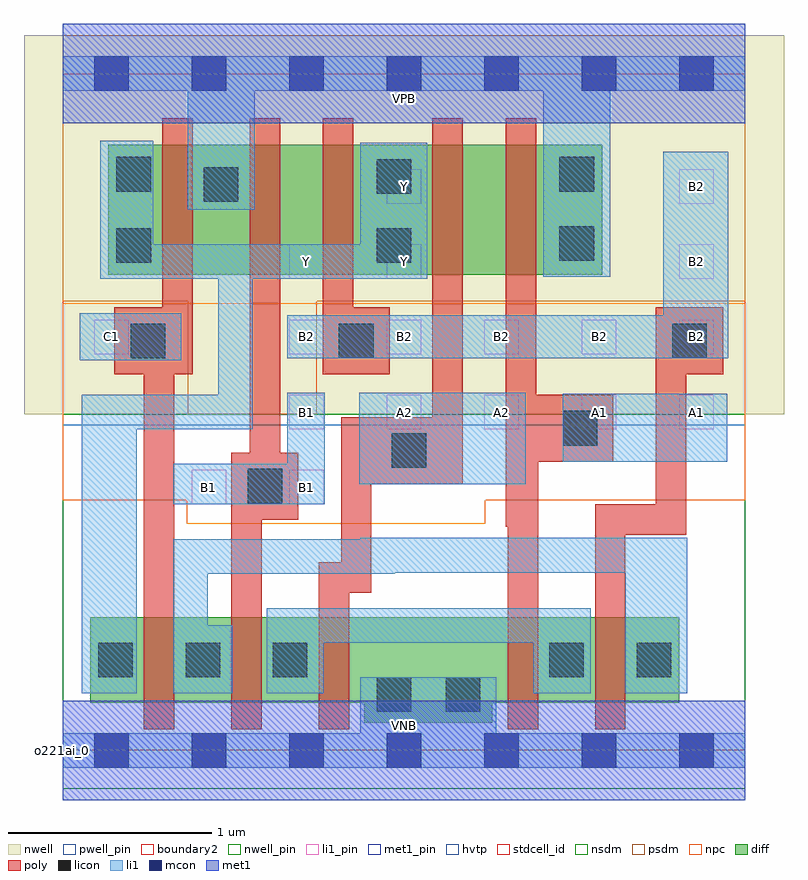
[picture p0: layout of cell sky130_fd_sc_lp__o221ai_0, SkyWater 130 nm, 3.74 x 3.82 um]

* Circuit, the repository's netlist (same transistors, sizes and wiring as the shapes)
* Copyright 2020 The SkyWater PDK Authors
*
* Licensed under the Apache License, Version 2.0 (the "License");
* you may not use this file except in compliance with the License.
* You may obtain a copy of the License at
*
*     https://www.apache.org/licenses/LICENSE-2.0
*
* Unless required by applicable law or agreed to in writing, software
* distributed under the License is distributed on an "AS IS" BASIS,
* WITHOUT WARRANTIES OR CONDITIONS OF ANY KIND, either express or implied.
* See the License for the specific language governing permissions and
* limitations under the License.
*
* SPDX-License-Identifier: Apache-2.0

.SUBCKT sky130_fd_sc_lp__o221ai_0 A1 A2 B1 B2 C1 VGND VNB VPB VPWR Y
*.PININFO A1:I A2:I B1:I B2:I C1:I VGND:I VNB:I VPB:I VPWR:I Y:O
MMPA0 VPWR A1 sndA1 VPB sky130_fd_pr__pfet_01v8_hvt m=1 w=0.64U l=0.15U mult=1
+ sa=0.265 sb=0.265 sd=0.28 area=0.063 perim=1.14
MMPA1 sndA1 A2 Y VPB sky130_fd_pr__pfet_01v8_hvt m=1 w=0.64U l=0.15U mult=1 sa=0.265
+ sb=0.265 sd=0.28 area=0.063 perim=1.14
MMPB0 VPWR B1 sndB1 VPB sky130_fd_pr__pfet_01v8_hvt m=1 w=0.64U l=0.15U mult=1
+ sa=0.265 sb=0.265 sd=0.28 area=0.063 perim=1.14
MMPB1 sndB1 B2 Y VPB sky130_fd_pr__pfet_01v8_hvt m=1 w=0.64U l=0.15U mult=1 sa=0.265
+ sb=0.265 sd=0.28 area=0.063 perim=1.14
MMPC0 VPWR C1 Y VPB sky130_fd_pr__pfet_01v8_hvt m=1 w=0.64U l=0.15U mult=1 sa=0.265
+ sb=0.265 sd=0.28 area=0.063 perim=1.14
MMNA0 pndA A1 VGND VNB sky130_fd_pr__nfet_01v8 m=1 w=0.42U l=0.15U mult=1 sa=0.265
+ sb=0.265 sd=0.28 area=0.063 perim=1.14
MMNA1 pndA A2 VGND VNB sky130_fd_pr__nfet_01v8 m=1 w=0.42U l=0.15U mult=1 sa=0.265
+ sb=0.265 sd=0.28 area=0.063 perim=1.14
MMNB0 pndB B1 pndA VNB sky130_fd_pr__nfet_01v8 m=1 w=0.42U l=0.15U mult=1 sa=0.265
+ sb=0.265 sd=0.28 area=0.063 perim=1.14
MMNB1 pndB B2 pndA VNB sky130_fd_pr__nfet_01v8 m=1 w=0.42U l=0.15U mult=1 sa=0.265
+ sb=0.265 sd=0.28 area=0.063 perim=1.14
MMNC0 Y C1 pndB VNB sky130_fd_pr__nfet_01v8 m=1 w=0.42U l=0.15U mult=1 sa=0.265
+ sb=0.265 sd=0.28 area=0.063 perim=1.14
.ENDS sky130_fd_sc_lp__o221ai_0

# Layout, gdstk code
import gdstk
lib = gdstk.Library(unit=1e-6, precision=1e-09)
def R(c, l, rs):  # rectangles x0, y0, x1, y1
    for r in rs: c.add(gdstk.rectangle(r[:2], r[2:], *l))
def A(c, l, x, y, w, h, nx, ny, dx, dy):  # array of equal rectangles
    R(c, l, [(x+i*dx, y+j*dy, x+i*dx+w, y+j*dy+h) for i in range(nx) for j in range(ny)])
def P(c, l, *ps):  # polygons
    for p in ps: c.add(gdstk.Polygon(p, *l))
nwell_pin = (64, 16)
nwell = (64, 20)
diff = (65, 20)
poly = (66, 20)
licon = (66, 44)
li1_pin = (67, 16)
li1 = (67, 20)
mcon = (67, 44)
met1_pin = (68, 16)
met1 = (68, 20)
hvtp = (78, 44)
stdcell_id = (81, 4)
nsdm = (93, 44)
psdm = (94, 20)
npc = (95, 20)
pwell_pin = (122, 16)
boundary2 = (236, 0)

sky130_fd_sc_lp__o221ai_ = lib.new_cell('sky130_fd_sc_lp__o221ai_0')
R(sky130_fd_sc_lp__o221ai_, nwell_pin, [(0,3.085,3.36,3.33)])
R(sky130_fd_sc_lp__o221ai_, nwell, [(-0.19,1.655,3.55,3.52)])
R(sky130_fd_sc_lp__o221ai_, diff, [(0.225,2.34,2.655,2.98)])
P(sky130_fd_sc_lp__o221ai_, diff, [(3.035,0.655),(0.135,0.655),(0.135,0.235),(1.485,0.235),(1.485,0.135),(2.115,0.135),(2.115,0.235),(3.035,0.235)])
P(sky130_fd_sc_lp__o221ai_, poly, [(0.64,3.11),(0.49,3.11),(0.49,2.18),(0.255,2.18),(0.255,1.85),(0.4,1.85),(0.4,0.105),(0.55,0.105),(0.55,1.85),(0.64,1.85)],
  [(1.16,1.465),(1.07,1.465),(1.07,3.11),(0.92,3.11),(0.92,1.465),(0.83,1.465),(0.83,0.105),(0.98,0.105),(0.98,1.135),(1.16,1.135)],
  [(1.61,2.18),(1.43,2.18),(1.43,3.11),(1.28,3.11),(1.28,1.85),(1.61,1.85)],
  [(1.97,3.11),(1.82,3.11),(1.82,1.64),(1.37,1.64),(1.37,0.925),(1.26,0.925),(1.26,0.105),(1.41,0.105),(1.41,0.775),(1.52,0.775),(1.52,1.31),(1.97,1.31)],
  [(3.25,2.18),(2.92,2.18),(2.92,1.21),(2.62,1.21),(2.62,0.105),(2.77,0.105),(2.77,1.06),(3.07,1.06),(3.07,1.85),(3.25,1.85)],
  [(2.71,1.75),(2.33,1.75),(2.33,3.11),(2.18,3.11),(2.18,1.1),(2.19,1.1),(2.19,0.105),(2.34,0.105),(2.34,1.42),(2.71,1.42)])
A(sky130_fd_sc_lp__o221ai_, licon, 0.175, 0.36, 0.17, 0.17, 3, 1, 0.43, 0)
R(sky130_fd_sc_lp__o221ai_, licon, [(1.545,0.19,1.715,0.36), (1.885,0.19,2.055,0.36), (2.395,0.36,2.565,0.53), (2.825,0.36,2.995,0.53), (0.91,1.215,1.08,1.385), (1.62,1.39,1.79,1.56), (2.46,1.5,2.63,1.67), (0.335,1.93,0.505,2.1), (1.36,1.93,1.53,2.1), (3,1.93,3.17,2.1), (0.265,2.4,0.435,2.57), (1.545,2.4,1.715,2.57), (2.445,2.41,2.615,2.58), (0.695,2.7,0.865,2.87), (1.545,2.74,1.715,2.91), (0.265,2.75,0.435,2.92), (2.445,2.75,2.615,2.92)])
A(sky130_fd_sc_lp__o221ai_, li1_pin, 1.115, 1.58, 0.17, 0.17, 5, 2, 0.48, 0.37)
R(sky130_fd_sc_lp__o221ai_, li1_pin, [(0.635,1.21,0.805,1.38), (1.115,1.21,1.285,1.38), (0.155,1.95,0.325,2.12), (1.115,2.32,1.285,2.49), (1.595,2.32,1.765,2.49), (3.035,2.32,3.205,2.49), (1.595,2.69,1.765,2.86), (3.035,2.69,3.205,2.86)])
R(sky130_fd_sc_lp__o221ai_, li1, [(1.46,1.31,2.28,1.76), (2.46,1.42,3.27,1.755), (0.085,1.92,0.585,2.15)])
P(sky130_fd_sc_lp__o221ai_, li1, [(2.6,0.7),(1.005,0.7),(1.005,0.28),(1.285,0.28),(1.285,0.53),(2.315,0.53),(2.315,0.28),(2.6,0.28)],
  [(3.36,0.085),(2.135,0.085),(2.135,0.36),(1.465,0.36),(1.465,0.085),(0,0.085),(0,-0.085),(3.36,-0.085)],
  [(3.36,3.415),(0,3.415),(0,3.245),(0.615,3.245),(0.615,2.66),(0.945,2.66),(0.945,3.245),(2.365,3.245),(2.365,2.33),(2.695,2.33),(2.695,3.245),(3.36,3.245)],
  [(1.29,1.76),(1.105,1.76),(1.105,1.41),(0.545,1.41),(0.545,1.21),(1.29,1.21)],
  [(1.795,2.99),(1.465,2.99),(1.465,2.49),(0.445,2.49),(0.445,3),(0.185,3),(0.185,2.32),(0.765,2.32),(0.765,1.75),(0.095,1.75),(0.095,0.28),(0.365,0.28),(0.365,1.58),(0.935,1.58),(0.935,2.32),(1.795,2.32)],
  [(3.275,2.945),(2.955,2.945),(2.955,2.14),(1.105,2.14),(1.105,1.93),(3.275,1.93)],
  [(3.075,1.045),(1.465,1.045),(1.465,1.04),(0.545,1.04),(0.545,0.28),(0.835,0.28),(0.835,0.615),(0.715,0.615),(0.715,0.87),(1.635,0.87),(1.635,0.875),(2.77,0.875),(2.77,0.28),(3.075,0.28)])
A(sky130_fd_sc_lp__o221ai_, mcon, 0.155, -0.085, 0.17, 0.17, 7, 2, 0.48, 3.33)
R(sky130_fd_sc_lp__o221ai_, met1_pin, [(0,0,3.36,0.245), (0,3.085,3.36,3.33)])
R(sky130_fd_sc_lp__o221ai_, met1, [(0,-0.245,3.36,0.245), (0,3.085,3.36,3.575)])
R(sky130_fd_sc_lp__o221ai_, hvtp, [(0,1.6,3.36,3.33)])
R(sky130_fd_sc_lp__o221ai_, stdcell_id, [(0,0,3.36,3.33)])
R(sky130_fd_sc_lp__o221ai_, nsdm, [(0,-0.19,3.36,1.655)])
P(sky130_fd_sc_lp__o221ai_, psdm, [(3.36,3.52),(0,3.52),(0,2.21),(0.615,2.21),(0.615,1.655),(1.25,1.655),(1.25,2.21),(3.36,2.21)])
P(sky130_fd_sc_lp__o221ai_, npc, [(3.36,2.2),(0,2.2),(0,1.23),(0.61,1.23),(0.61,1.115),(2.08,1.115),(2.08,1.23),(3.36,1.23)])
R(sky130_fd_sc_lp__o221ai_, pwell_pin, [(0,0,3.36,0.245)])
R(sky130_fd_sc_lp__o221ai_, boundary2, [(0,0,3.36,3.33)])
sky130_fd_sc_lp__o221ai_.add(gdstk.Label('VNB', (1.68,0.123), layer=64, texttype=59))
sky130_fd_sc_lp__o221ai_.add(gdstk.Label('VPB', (1.68,3.208), layer=64, texttype=5))
sky130_fd_sc_lp__o221ai_.add(gdstk.Label('o221ai_0', (0,0), layer=83, texttype=44))
sky130_fd_sc_lp__o221ai_.add(gdstk.Label('VPWR', (1.68,3.208), layer=68, texttype=5))
sky130_fd_sc_lp__o221ai_.add(gdstk.Label('VGND', (1.68,0.123), layer=68, texttype=5))
sky130_fd_sc_lp__o221ai_.add(gdstk.Label('A1', (2.64,1.665), layer=67, texttype=5))
sky130_fd_sc_lp__o221ai_.add(gdstk.Label('A1', (3.12,1.665), layer=67, texttype=5))
sky130_fd_sc_lp__o221ai_.add(gdstk.Label('A2', (2.16,1.665), layer=67, texttype=5))
sky130_fd_sc_lp__o221ai_.add(gdstk.Label('Y', (1.2,2.405), layer=67, texttype=5))
sky130_fd_sc_lp__o221ai_.add(gdstk.Label('Y', (1.68,2.405), layer=67, texttype=5))
sky130_fd_sc_lp__o221ai_.add(gdstk.Label('B1', (1.2,1.295), layer=67, texttype=5))
sky130_fd_sc_lp__o221ai_.add(gdstk.Label('C1', (0.24,2.035), layer=67, texttype=5))
sky130_fd_sc_lp__o221ai_.add(gdstk.Label('B2', (1.68,2.035), layer=67, texttype=5))
sky130_fd_sc_lp__o221ai_.add(gdstk.Label('B2', (2.64,2.035), layer=67, texttype=5))
sky130_fd_sc_lp__o221ai_.add(gdstk.Label('B2', (2.16,2.035), layer=67, texttype=5))
sky130_fd_sc_lp__o221ai_.add(gdstk.Label('B2', (1.2,2.035), layer=67, texttype=5))
sky130_fd_sc_lp__o221ai_.add(gdstk.Label('B2', (3.12,2.775), layer=67, texttype=5))
sky130_fd_sc_lp__o221ai_.add(gdstk.Label('B2', (3.12,2.405), layer=67, texttype=5))
sky130_fd_sc_lp__o221ai_.add(gdstk.Label('Y', (1.68,2.775), layer=67, texttype=5))
sky130_fd_sc_lp__o221ai_.add(gdstk.Label('A2', (1.68,1.665), layer=67, texttype=5))
sky130_fd_sc_lp__o221ai_.add(gdstk.Label('B1', (0.72,1.295), layer=67, texttype=5))
sky130_fd_sc_lp__o221ai_.add(gdstk.Label('B1', (1.2,1.665), layer=67, texttype=5))
sky130_fd_sc_lp__o221ai_.add(gdstk.Label('B2', (3.12,2.035), layer=67, texttype=5))

lib.write_gds('sky130_fd_sc_lp__o221ai_0.gds')
